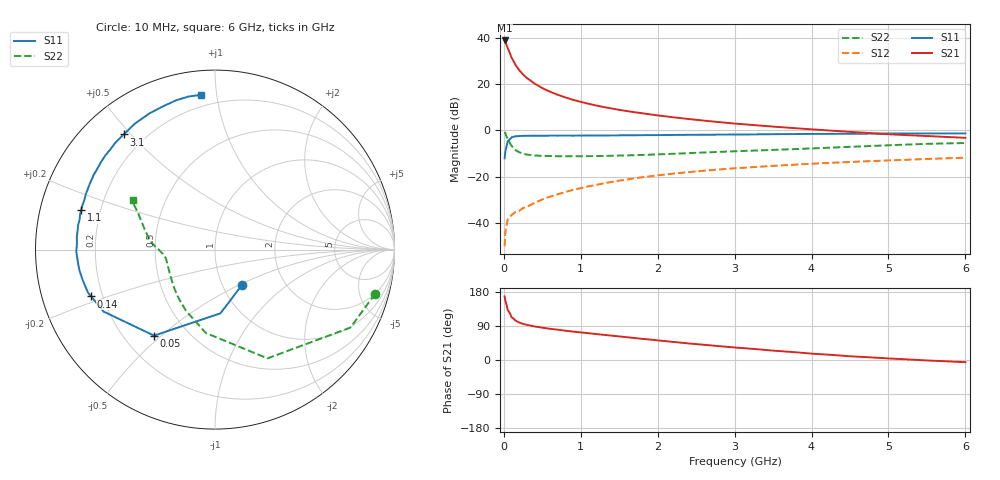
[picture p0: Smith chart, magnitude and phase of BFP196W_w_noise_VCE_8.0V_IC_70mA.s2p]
! Infineon Technologies  Discrete & RF Semiconductors
! BFP196W
! VCE =  8.0 V,  IC =  70 mA
! Common Emitter S-Parameters:  Jan 2017
# GHz  S  MA  R  50
!  f  S11  S21  S12  S22
! GHz  MAG  ANG  MAG  ANG  MAG  ANG  MAG  ANG
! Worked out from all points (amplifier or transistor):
!   77 points, 10 MHz to 6 GHz, reference 50 ohm
!   highest |S21| = 39.0 dB at 10 MHz (marker M1)
!   |S21| within 3 dB of that: start of sweep to 46.93 MHz
!   unconditionally stable (mu >= 1): 631.3 MHz to 3.27 GHz
!   at 130 MHz: K = 0.47, MSG = 32.9 dB, |S12| = -35.9 dB
!   at 2.2 GHz: K = 1.03, MAG = 11.1 dB, |S12| = -18.7 dB
!   at 6 GHz: K = 0.93, MSG = 4.3 dB, |S12| = -11.8 dB
!   lowest NFmin = 1.58 dB at 450 MHz
!   S11 on the Smith chart (normalised r, x): 10 MHz: 1.23, -0.52; 50 MHz: 0.32, -0.47; 140 MHz: 0.16, -0.18; 1.1 GHz: 0.13, +0.14; 3.1 GHz: 0.12, +0.48; 6 GHz: 0.13, +0.90
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0.01  0.2487 -53.1  89.56 167.9  0.0031 76.4  0.9256 -15.4
0.02  0.3563 -85.1  83.87 156.1  0.0062 75.4  0.871 -29.9
0.05  0.5873 -125.3  61.65 131.7  0.0117 50.3  0.6731 -64.2
0.1  0.7103 -150.9  37.97 112.8  0.0146 44.4  0.4675 -96.2
0.14  0.738 -159.3  28.84 106.5  0.0165 43.7  0.3921 -110.7
0.15  0.7473 -161.3  26.64 104.2  0.017 43.6  0.3781 -115.2
0.2  0.7572 -167.4  20.31 98.9  0.0181 47.0  0.3378 -127.0
0.25  0.7645 -171.6  16.37 95.2  0.0208 47.4  0.3144 -135.7
0.3  0.767 -174.7  13.69 92.6  0.0222 51.7  0.3008 -141.8
0.4  0.7728 -179.2  10.37 88.4  0.0269 56.0  0.2873 -150.2
0.5  0.7698 177.6  8.294 85.2  0.032 58.9  0.2812 -155.6
0.6  0.7732 174.7  6.935 82.4  0.0367 60.4  0.2792 -159.5
0.7  0.7728 172.4  5.938 80.0  0.0413 62.8  0.2766 -162.4
0.9  0.7726 167.5  4.617 75.0  0.0514 63.6  0.2768 -166.1
1.1  0.7772 163.5  3.8 70.8  0.0615 63.9  0.2779 -168.8
1.3  0.7784 159.4  3.219 66.4  0.0714 63.7  0.2801 -171.1
1.5  0.7839 155.8  2.802 62.2  0.0816 62.9  0.2853 -173.3
2.1  0.797 144.6  2.028 49.8  0.1111 58.7  0.3076 -178.8
3.1  0.8187 128.4  1.372 31.5  0.1551 49.9  0.3589 172.8
4.1  0.8431 114.3  1.033 15.6  0.1934 41.4  0.4145 162.8
5.1  0.8605 103.5  0.813 3.1  0.2274 33.3  0.4847 153.6
6  0.8658 95.2  0.693 -5.8  0.2575 26.3  0.535 148.9
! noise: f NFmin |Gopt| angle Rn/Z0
0.45  1.58  0.55  -175  0.06
0.9  1.7  0.58  -169  0.07
1.9  2.54  0.7  -148  0.18
2.4  2.95  0.74  -143  0.3
